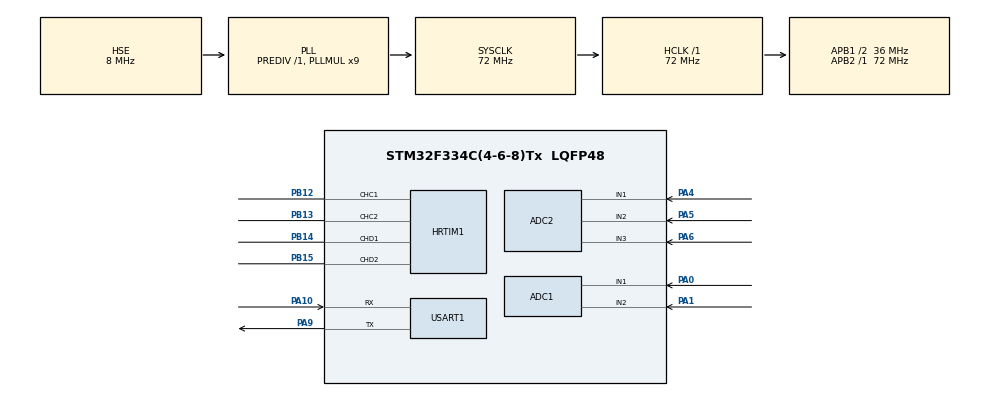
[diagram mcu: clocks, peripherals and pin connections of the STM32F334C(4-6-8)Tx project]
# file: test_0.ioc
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ADC1.Channel-3\#ChannelRegularConversion=ADC_CHANNEL_1
ADC1.Channel-4\#ChannelRegularConversion=ADC_CHANNEL_2
ADC1.ContinuousConvMode=ENABLE
ADC1.DMAContinuousRequests=DISABLE
ADC1.NbrOfConversion=2
ADC1.NbrOfConversionFlag=1
ADC1.Offset-3\#ChannelRegularConversion=0
ADC1.Offset-4\#ChannelRegularConversion=0
ADC1.OffsetNumber-3\#ChannelRegularConversion=ADC_OFFSET_NONE
ADC1.OffsetNumber-4\#ChannelRegularConversion=ADC_OFFSET_NONE
ADC1.Rank-3\#ChannelRegularConversion=1
ADC1.Rank-4\#ChannelRegularConversion=2
ADC1.SamplingTime-3\#ChannelRegularConversion=ADC_SAMPLETIME_1CYCLE_5
ADC1.SamplingTime-4\#ChannelRegularConversion=ADC_SAMPLETIME_1CYCLE_5
ADC1.SamplingTimeOPAMP-4\#ChannelRegularConversion=ADC_SAMPLETIME_7CYCLES_5
ADC1.SubFamily=STM32F334x8
ADC1.master=1
ADC2.Channel-1\#ChannelRegularConversion=ADC_CHANNEL_1
ADC2.Channel-2\#ChannelRegularConversion=ADC_CHANNEL_2
ADC2.Channel-3\#ChannelRegularConversion=ADC_CHANNEL_3
ADC2.ContinuousConvMode=ENABLE
ADC2.NbrOfConversion=3
ADC2.NbrOfConversionFlag=1
ADC2.Offset-1\#ChannelRegularConversion=0
ADC2.Offset-2\#ChannelRegularConversion=0
ADC2.Offset-3\#ChannelRegularConversion=0
ADC2.OffsetNumber-1\#ChannelRegularConversion=ADC_OFFSET_NONE
ADC2.OffsetNumber-2\#ChannelRegularConversion=ADC_OFFSET_NONE
ADC2.OffsetNumber-3\#ChannelRegularConversion=ADC_OFFSET_NONE
ADC2.Rank-1\#ChannelRegularConversion=1
ADC2.Rank-2\#ChannelRegularConversion=2
ADC2.Rank-3\#ChannelRegularConversion=3
ADC2.SamplingTime-1\#ChannelRegularConversion=ADC_SAMPLETIME_1CYCLE_5
ADC2.SamplingTime-2\#ChannelRegularConversion=ADC_SAMPLETIME_1CYCLE_5
ADC2.SamplingTime-3\#ChannelRegularConversion=ADC_SAMPLETIME_1CYCLE_5
ADC2.SamplingTimeOPAMP-2\#ChannelRegularConversion=ADC_SAMPLETIME_7CYCLES_5
ADC2.SamplingTimeOPAMP-3\#ChannelRegularConversion=ADC_SAMPLETIME_7CYCLES_5
ADC2.SubFamily=STM32F334x8
Dma.ADC1.1.Direction=DMA_PERIPH_TO_MEMORY
Dma.ADC1.1.Instance=DMA1_Channel1
Dma.ADC1.1.MemDataAlignment=DMA_MDATAALIGN_WORD
Dma.ADC1.1.MemInc=DMA_MINC_ENABLE
Dma.ADC1.1.Mode=DMA_CIRCULAR
Dma.ADC1.1.PeriphDataAlignment=DMA_PDATAALIGN_WORD
Dma.ADC1.1.PeriphInc=DMA_PINC_DISABLE
Dma.ADC1.1.Priority=DMA_PRIORITY_LOW
Dma.ADC2.0.Direction=DMA_PERIPH_TO_MEMORY
Dma.ADC2.0.Instance=DMA1_Channel2
Dma.ADC2.0.MemDataAlignment=DMA_MDATAALIGN_WORD
Dma.ADC2.0.MemInc=DMA_MINC_ENABLE
Dma.ADC2.0.Mode=DMA_CIRCULAR
Dma.ADC2.0.PeriphDataAlignment=DMA_PDATAALIGN_WORD
Dma.ADC2.0.PeriphInc=DMA_PINC_DISABLE
Dma.ADC2.0.Priority=DMA_PRIORITY_LOW
Dma.Request0=ADC2
Dma.Request1=ADC1
HRTIM1.CompareUnit1-Output_TC1TC2=HRTIM_COMPAREUNIT_1
HRTIM1.CompareUnit1-Output_TD1TD2=HRTIM_COMPAREUNIT_1
HRTIM1.CompareUnit2-Output_TC1TC2=HRTIM_COMPAREUNIT_2
HRTIM1.CompareUnit2-Output_TD1TD2=HRTIM_COMPAREUNIT_2
HRTIM1.CompareUnit3-Output_TC1TC2=__NULL
HRTIM1.CompareUnit4-Output_TC1TC2=__NULL
HRTIM1.CompareValue1-Output_TC1TC2=4608
HRTIM1.CompareValue1-Output_TD1TD2=4608
HRTIM1.CompareValue2-Output_TC1TC2=4608
HRTIM1.CompareValue2-Output_TD1TD2=4608
HRTIM1.CompareValue3-Output_TC1TC2=4608
HRTIM1.CompareValue4-Output_TC1TC2=4608
HRTIM1.DeadTimeInsertion-Output_TC1TC2=HRTIM_TIMDEADTIMEINSERTION_DISABLED
HRTIM1.DeadTimeInsertion-Output_TD1TD2=HRTIM_TIMDEADTIMEINSERTION_DISABLED
HRTIM1.NumberResetSource1-Output_TC1TC2=1
HRTIM1.NumberResetSource1-Output_TD1TD2=1
HRTIM1.NumberResetSource2_TC=1
HRTIM1.NumberResetSource2_TD=1
HRTIM1.NumberSetSource1-Output_TC1TC2=1
HRTIM1.NumberSetSource1-Output_TD1TD2=1
HRTIM1.NumberSetSource2_TC=1
HRTIM1.NumberSetSource2_TD=1
HRTIM1.Periode_MASTER=4608/5
HRTIM1.Periode_TC=9216
HRTIM1.Periode_TD=9216
HRTIM1.PreloadEnable-MasterTimer=HRTIM_PRELOAD_ENABLED
HRTIM1.PreloadEnable-Output_TC1TC2=HRTIM_PRELOAD_ENABLED
HRTIM1.PreloadEnable-Output_TD1TD2=HRTIM_PRELOAD_ENABLED
HRTIM1.RepetitionUpdate-MasterTimer=HRTIM_UPDATEONREPETITION_ENABLED
HRTIM1.RepetitionUpdate-Output_TC1TC2=HRTIM_UPDATEONREPETITION_ENABLED
HRTIM1.RepetitionUpdate-Output_TD1TD2=HRTIM_UPDATEONREPETITION_ENABLED
HRTIM1.ResetOutput1_Source1-Output_TC1TC2=HRTIM_OUTPUTRESET_TIMCMP1
HRTIM1.ResetOutput1_Source1-Output_TD1TD2=HRTIM_OUTPUTRESET_TIMCMP1
HRTIM1.ResetOutput2_Source1-Output_TC1TC2=HRTIM_OUTPUTRESET_TIMCMP2
HRTIM1.ResetOutput2_Source1-Output_TD1TD2=HRTIM_OUTPUTRESET_TIMCMP2
HRTIM1.SetOutput1_Source1-Output_TC1TC2=HRTIM_OUTPUTSET_MASTERPER
HRTIM1.SetOutput1_Source1-Output_TD1TD2=HRTIM_OUTPUTSET_MASTERPER
HRTIM1.SetOutput2_Source1-Output_TC1TC2=HRTIM_OUTPUTSET_MASTERPER
HRTIM1.SetOutput2_Source1-Output_TD1TD2=HRTIM_OUTPUTSET_MASTERPER
Mcu.Family=STM32F3
Mcu.Name=STM32F334C(4-6-8)Tx
Mcu.Package=LQFP48
NVIC.ADC1_2_IRQn=true\:0\:0\:false\:false\:true\:true\:true
NVIC.DMA1_Channel1_IRQn=true\:0\:0\:false\:false\:true\:false\:true
NVIC.DMA1_Channel2_IRQn=true\:0\:0\:false\:false\:true\:false\:true
NVIC.PriorityGroup=NVIC_PRIORITYGROUP_4
PA0.Mode=IN1-Single-Ended
PA0.Signal=ADC1_IN1
PA1.Mode=IN2-Single-Ended
PA1.Signal=ADC1_IN2
PA10.Mode=Asynchronous
PA10.Signal=USART1_RX
PA13.Mode=Serial_Wire
PA13.Signal=SYS_JTMS-SWDIO
PA14.Mode=Serial_Wire
PA14.Signal=SYS_JTCK-SWCLK
PA4.Mode=IN1-Single-Ended
PA4.Signal=ADC2_IN1
PA5.Mode=IN2-Single-Ended
PA5.Signal=ADC2_IN2
PA6.Mode=IN3-Single-Ended
PA6.Signal=ADC2_IN3
PA9.Mode=Asynchronous
PA9.Signal=USART1_TX
PB12.Mode=Output_TC1TC2
PB12.Signal=HRTIM1_CHC1
PB13.Mode=Output_TC1TC2
PB13.Signal=HRTIM1_CHC2
PB14.Mode=Output_TD1TD2
PB14.Signal=HRTIM1_CHD1
PB15.Mode=Output_TD1TD2
PB15.Signal=HRTIM1_CHD2
PF0\ /\ OSC_IN.Mode=HSE-External-Oscillator
PF0\ /\ OSC_IN.Signal=RCC_OSC_IN
PF1\ /\ OSC_OUT.Mode=HSE-External-Oscillator
PF1\ /\ OSC_OUT.Signal=RCC_OSC_OUT
ProjectManager.HeapSize=0x200
ProjectManager.StackSize=0x400
ProjectManager.TargetToolchain=MDK-ARM V5.32
RCC.ADC12PRES=RCC_ADC12PLLCLK_DIV6
RCC.AHBFreq_Value=72000000
RCC.APB1CLKDivider=RCC_HCLK_DIV2
RCC.APB1Freq_Value=36000000
RCC.APB1TimFreq_Value=72000000
RCC.APB2Freq_Value=72000000
RCC.APB2TimFreq_Value=72000000
RCC.CortexFreq_Value=72000000
RCC.HCLKFreq_Value=72000000
RCC.HRTIMSelection=RCC_HRTIM1CLK_PLLCLK
RCC.HSE_VALUE=8000000
RCC.HSI_VALUE=8000000
RCC.LSE_VALUE=32768
RCC.PLLMUL=RCC_PLL_MUL9
RCC.PLLSourceVirtual=RCC_PLLSOURCE_HSE
RCC.SYSCLKFreq_VALUE=72000000
RCC.SYSCLKSourceVirtual=RCC_SYSCLKSOURCE_PLLCLK
USART1.VirtualMode-Asynchronous=VM_ASYNC
VP_HRTIM1_VS_hrtimMasterTimerNoOutput.Mode=MasterTimer
board=custom

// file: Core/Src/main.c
/* USER CODE BEGIN Header */
/**
  ******************************************************************************
  * @file           : main.c
  * @brief          : Main program body
  ******************************************************************************
  * @attention
  *
  * <h2><center>&copy; Copyright (c) 2022 STMicroelectronics.
  * All rights reserved.</center></h2>
  *
  * This software component is licensed by ST under BSD 3-Clause license,
  * the "License"; You may not use this file except in compliance with the
  * License. You may obtain a copy of the License at:
  *                        opensource.org/licenses/BSD-3-Clause
  *
  ******************************************************************************
  */
/* USER CODE END Header */
#include "main.h"
#include "adc.h"
#include "dma.h"
#include "hrtim.h"
#include "hrtim.h"
#include "usart.h"
#include "gpio.h"

/* USER CODE BEGIN Includes */
#include "stdio.h"
/* USER CODE END Includes */

/* USER CODE BEGIN PM */
#define HRTIM_TIMD_PERIOD 9216
/* USER CODE END PM */

/* USER CODE BEGIN PV */
uint32_t AD1_DMA[2] = {0};
uint32_t AD2_DMA[3] = {0};
double V_IN,C_IN,C_OUT,V_CAP,C_CAP;
HRTIM_CompareCfgTypeDef      sConfig_compare;
/* USER CODE END PV */

void SystemClock_Config(void);

int main(void)
{

  /* MCU Configuration--------------------------------------------------------*/

  /* Reset of all peripherals, Initializes the Flash interface and the Systick. */
  HAL_Init();

  /* Configure the system clock */
  SystemClock_Config();

  /* Initialize all configured peripherals */
  MX_GPIO_Init();
  MX_DMA_Init();
  MX_USART1_UART_Init();
  MX_ADC2_Init();
  MX_ADC1_Init();
  MX_HRTIM1_Init();
  /* USER CODE BEGIN 2 */
	HAL_ADCEx_Calibration_Start(&hadc1,ADC_SINGLE_ENDED);    //AD校准
	HAL_ADCEx_Calibration_Start(&hadc2,ADC_SINGLE_ENDED);
	HAL_ADC_Start_DMA(&hadc1, (uint32_t*)&AD1_DMA, 2);
	HAL_ADC_Start_DMA(&hadc2, (uint32_t*)&AD2_DMA, 3);
  /* USER CODE END 2 */

  /* Infinite loop */
  while (1)
  {

    /* USER CODE BEGIN 3 */
//		V_IN = (double)(AD1_DMA[0])*3.3/4096*20;
//		C_IN= (double)(AD1_DMA[1])*3.3/4096*5;
//		C_OUT = (double)(AD2_DMA[0])*3.3/4096*5;
//		V_CAP = (double)(AD2_DMA[1])*3.3/4096*20;
//		C_CAP = (double)(AD2_DMA[2])*3.3/4096*2.5;
//		printf("V_IN=%f,C_IN=%f,C_OUT=%f,V_CAP=%f,C_CAP=%f\n",V_IN,C_IN,C_OUT,V_CAP,C_CAP);
	HRTIM1->sTimerxRegs[HRTIM_TIMERINDEX_TIMER_D].TIMxCR =
	HRTIM_TIMCR_CONT + HRTIM_TIMCR_PREEN + HRTIM_TIMCR_TREPU;

	HRTIM1->sTimerxRegs[HRTIM_TIMERINDEX_TIMER_C].TIMxCR =
	HRTIM_TIMCR_CONT + HRTIM_TIMCR_PREEN + HRTIM_TIMCR_TREPU;

	HRTIM1->sTimerxRegs[HRTIM_TIMERINDEX_TIMER_C].PERxR = HRTIM_TIMD_PERIOD;
	HRTIM1->sTimerxRegs[HRTIM_TIMERINDEX_TIMER_C].CMP1xR = HRTIM_TIMD_PERIOD/4;
	HRTIM1->sTimerxRegs[HRTIM_TIMERINDEX_TIMER_C].CMP2xR = HRTIM_TIMD_PERIOD/4;

	HRTIM1->sTimerxRegs[HRTIM_TIMERINDEX_TIMER_C].SETx1R = HRTIM_SET1R_PER;
	HRTIM1->sTimerxRegs[HRTIM_TIMERINDEX_TIMER_C].RSTx1R = HRTIM_RST1R_CMP1;

	HRTIM1->sTimerxRegs[HRTIM_TIMERINDEX_TIMER_C].SETx2R = HRTIM_SET2R_PER;
	HRTIM1->sTimerxRegs[HRTIM_TIMERINDEX_TIMER_C].RSTx2R = HRTIM_RST2R_CMP2;

	HRTIM1->sTimerxRegs[HRTIM_TIMERINDEX_TIMER_D].PERxR = HRTIM_TIMD_PERIOD;
	HRTIM1->sTimerxRegs[HRTIM_TIMERINDEX_TIMER_D].CMP1xR = HRTIM_TIMD_PERIOD/4;
	HRTIM1->sTimerxRegs[HRTIM_TIMERINDEX_TIMER_D].CMP2xR = HRTIM_TIMD_PERIOD/4;

	HRTIM1->sTimerxRegs[HRTIM_TIMERINDEX_TIMER_D].SETx1R = HRTIM_SET1R_PER;
	HRTIM1->sTimerxRegs[HRTIM_TIMERINDEX_TIMER_D].RSTx1R = HRTIM_RST1R_CMP1;

	HRTIM1->sTimerxRegs[HRTIM_TIMERINDEX_TIMER_D].SETx2R = HRTIM_SET2R_PER;
	HRTIM1->sTimerxRegs[HRTIM_TIMERINDEX_TIMER_D].RSTx2R = HRTIM_RST2R_CMP2;

	HRTIM1->sCommonRegs.OENR = HRTIM_OENR_TC1OEN + HRTIM_OENR_TC2OEN +
	HRTIM_OENR_TD1OEN + HRTIM_OENR_TD2OEN;
	GPIO_HRTIM_outputs_Config();
 HRTIM1->sMasterRegs.MCR = HRTIM_MCR_TCCEN + HRTIM_MCR_TDCEN;
	HAL_Delay(1000);
  }
  /* USER CODE END 3 */
}

void SystemClock_Config(void)
{
  RCC_OscInitTypeDef RCC_OscInitStruct = {0};
  RCC_ClkInitTypeDef RCC_ClkInitStruct = {0};
  RCC_PeriphCLKInitTypeDef PeriphClkInit = {0};

  /** Initializes the RCC Oscillators according to the specified parameters
  * in the RCC_OscInitTypeDef structure.
  */
  RCC_OscInitStruct.OscillatorType = RCC_OSCILLATORTYPE_HSE;
  RCC_OscInitStruct.HSEState = RCC_HSE_ON;
  RCC_OscInitStruct.HSEPredivValue = RCC_HSE_PREDIV_DIV1;
  RCC_OscInitStruct.HSIState = RCC_HSI_ON;
  RCC_OscInitStruct.PLL.PLLState = RCC_PLL_ON;
  RCC_OscInitStruct.PLL.PLLSource = RCC_PLLSOURCE_HSE;
  RCC_OscInitStruct.PLL.PLLMUL = RCC_PLL_MUL9;
  if (HAL_RCC_OscConfig(&RCC_OscInitStruct) != HAL_OK)
  {
    Error_Handler();
  }
  /** Initializes the CPU, AHB and APB buses clocks
  */
  RCC_ClkInitStruct.ClockType = RCC_CLOCKTYPE_HCLK|RCC_CLOCKTYPE_SYSCLK
                              |RCC_CLOCKTYPE_PCLK1|RCC_CLOCKTYPE_PCLK2;
  RCC_ClkInitStruct.SYSCLKSource = RCC_SYSCLKSOURCE_PLLCLK;
  RCC_ClkInitStruct.AHBCLKDivider = RCC_SYSCLK_DIV1;
  RCC_ClkInitStruct.APB1CLKDivider = RCC_HCLK_DIV2;
  RCC_ClkInitStruct.APB2CLKDivider = RCC_HCLK_DIV1;

  if (HAL_RCC_ClockConfig(&RCC_ClkInitStruct, FLASH_LATENCY_2) != HAL_OK)
  {
    Error_Handler();
  }
  PeriphClkInit.PeriphClockSelection = RCC_PERIPHCLK_HRTIM1|RCC_PERIPHCLK_USART1
                              |RCC_PERIPHCLK_ADC12;
  PeriphClkInit.Usart1ClockSelection = RCC_USART1CLKSOURCE_PCLK1;
  PeriphClkInit.Adc12ClockSelection = RCC_ADC12PLLCLK_DIV6;
  PeriphClkInit.Hrtim1ClockSelection = RCC_HRTIM1CLK_PLLCLK;
  if (HAL_RCCEx_PeriphCLKConfig(&PeriphClkInit) != HAL_OK)
  {
    Error_Handler();
  }
}

/* USER CODE BEGIN 4 */
int fputc(int ch, FILE *f)
{
    HAL_UART_Transmit(&huart1, (uint8_t *)&ch, 1, 0xFFFF);
    return ch;
}
void GPIO_HRTIM_outputs_Config(void)
{
  GPIO_InitTypeDef GPIO_InitStruct;
  /* Enable GPIOB clock for timer C&D outputs */
  __HAL_RCC_GPIOB_CLK_ENABLE();
  GPIO_InitStruct.Pin = GPIO_PIN_12 | GPIO_PIN_13 | GPIO_PIN_14 | GPIO_PIN_15;
  GPIO_InitStruct.Mode = GPIO_MODE_AF_PP;
  GPIO_InitStruct.Pull = GPIO_NOPULL;;
  GPIO_InitStruct.Speed = GPIO_SPEED_FREQ_HIGH;;
  GPIO_InitStruct.Alternate = GPIO_AF13_HRTIM1;
  HAL_GPIO_Init(GPIOB, &GPIO_InitStruct);
}
/* USER CODE END 4 */

void Error_Handler(void)
{
  __disable_irq();
  while (1)
  {
  }
}

/************************ (C) COPYRIGHT STMicroelectronics *****END OF FILE****/
